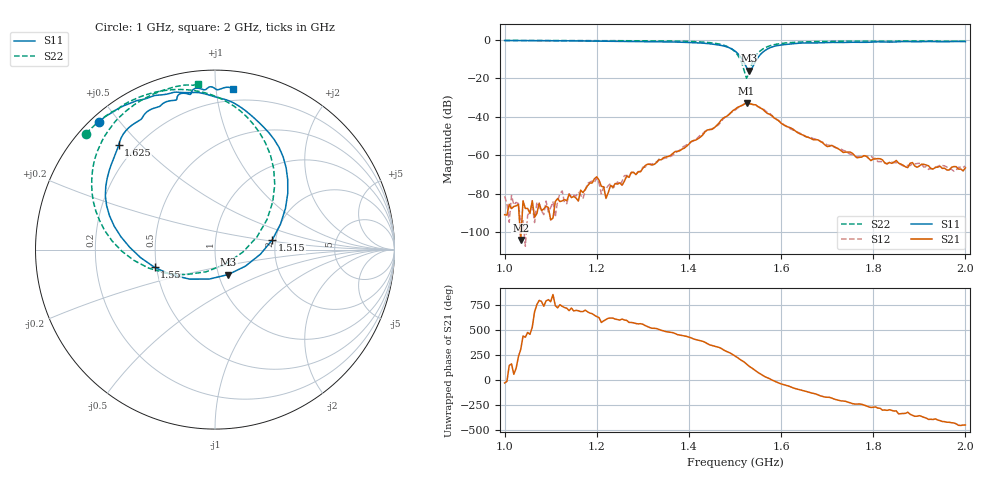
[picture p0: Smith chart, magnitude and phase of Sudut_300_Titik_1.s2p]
# Hz S RI R 50
! CMT, C1220, 16058040, 17.2.0/1
! Date: 14/08/2018 12:58:40
! Data: Format (Calibration Info)
! Freq  S11: Re/Im (F2)  S21: Re/Im (F2)  S12: Re/Im (F2)  S22: Re/Im (F2)
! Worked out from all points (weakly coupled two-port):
!   201 points, 1 GHz to 2 GHz, reference 50 ohm
!   highest |S21| = -32.76 dB at 1.525 GHz (marker M1); lowest = -104.0 dB at 1.035 GHz (marker M2)
!   lowest |S11| = -16.1 dB at 1.53 GHz (marker M3), VSWR 1.37, Z = 55.6 - j15.8 ohm
!   |S11| at or under -10 dB: 1.515 GHz to 1.548 GHz (32.15 MHz wide, 2.1 % of centre)
!   |S22| runs from -19.9 to -0.3 dB; largest |S21 - S12| = 0.0009
!   S11 on the Smith chart (normalised r, x): 1 GHz: 0.02, +0.44; 1.515 GHz: 1.92, +0.23; 1.55 GHz: 0.49, -0.11; 1.625 GHz: 0.14, +0.43; 2 GHz: 0.12, +1.11
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1e9  -0.6479 0.7119  2.44e-05 -1.51e-05  -4.13e-05 7.63e-05  -0.7193 0.6458
1.035e9  -0.6169 0.7373  3.46e-06 -5.29e-06  -1.72e-05 1.46e-06  -0.6939 0.6713
1.17e9  -0.4625 0.8189  8.52e-05 -6.64e-05  6.75e-05 -3.18e-05  -0.5767 0.7656
1.2e9  -0.4188 0.8333  9.46e-06 -0.000276  -3.24e-05 -0.000255  -0.543 0.7777
1.21e9  -0.4057 0.8357  -0.000131 -8.67e-05  -5.31e-05 -8.33e-05  -0.5382 0.7815
1.22e9  -0.391 0.8393  -3.49e-05 -6.77e-05  -2.43e-05 -0.000134  -0.5308 0.791
1.23e9  -0.3744 0.8446  -3.64e-05 -0.000162  -5.95e-05 -0.000177  -0.5197 0.8003
1.25e9  -0.3424 0.8568  -0.000105 -0.000163  -6.38e-05 -0.000155  -0.4947 0.8152
1.26e9  -0.3278 0.8598  -0.000116 -0.000181  -0.000124 -0.000271  -0.4813 0.8228
1.335e9  -0.1909 0.8754  -0.000609 0.000458  -0.000609 0.000514  -0.3599 0.8699
1.45e9  0.1919 0.7559  0.00454 -0.00136  0.00457 -0.00168  0.046 0.8342
1.5e9  0.4055 0.3141  -0.00837 -0.0133  -0.00791 -0.0126  0.3329 0.3627
1.515e9  0.3191 0.0539  -0.0193 -0.00424  -0.0193 -0.00474  0.2341 0.0711
1.525e9  0.1697 -0.0921  -0.0213 0.00861  -0.0216 0.00856  0.0613 -0.0799
1.53e9  0.0736 -0.139  -0.0165 0.0149  -0.0167 0.015  -0.049 -0.1234
1.55e9  -0.3365 -0.0989  0.00538 0.0176  0.00473 0.0178  -0.4534 -0.0593
1.58e9  -0.6039 0.2452  0.0106 -0.000345  0.011 -0.00085  -0.6777 0.2668
1.625e9  -0.537 0.582  0.000979 -0.00477  0.00103 -0.00447  -0.649 0.5627
1.67e9  -0.4228 0.7186  -0.00183 -0.00176  -0.00196 -0.00188  -0.5658 0.7009
1.835e9  -0.1385 0.8643  0.000318 0.000573  0.000406 0.000512  -0.315 0.8783
1.975e9  0.06 0.9038  0.000161 -0.000485  7.86e-05 -0.00038  -0.1246 0.9156
2e9  0.0978 0.8966  -1.28e-05 -0.000473  -4.58e-05 -0.000531  -0.0973 0.9224
